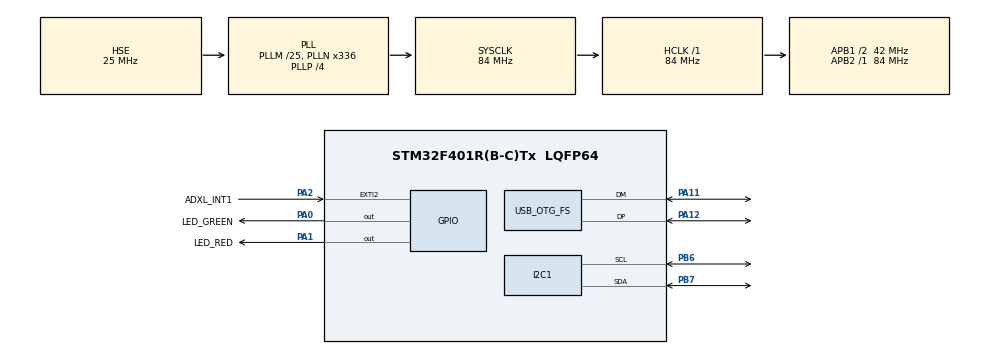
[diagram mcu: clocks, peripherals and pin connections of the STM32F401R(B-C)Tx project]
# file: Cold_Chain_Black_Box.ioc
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Mcu.Family=STM32F4
Mcu.Name=STM32F401R(B-C)Tx
Mcu.Package=LQFP64
NVIC.EXTI2_IRQn=true\:0\:0\:false\:false\:true\:true\:true\:true
NVIC.OTG_FS_IRQn=true\:0\:0\:false\:false\:true\:false\:true\:true
NVIC.PriorityGroup=NVIC_PRIORITYGROUP_4
PA0-WKUP.GPIO_Label=LED_GREEN
PA0-WKUP.Signal=GPIO_Output
PA1.GPIO_Label=LED_RED
PA1.Signal=GPIO_Output
PA11.Mode=Device_Only
PA11.Signal=USB_OTG_FS_DM
PA12.Mode=Device_Only
PA12.Signal=USB_OTG_FS_DP
PA13.Mode=Serial_Wire
PA13.Signal=SYS_JTMS-SWDIO
PA14.Mode=Serial_Wire
PA14.Signal=SYS_JTCK-SWCLK
PA2.GPIO_Label=ADXL_INT1
PA2.Signal=GPXTI2
PB6.Mode=I2C
PB6.Signal=I2C1_SCL
PB7.Mode=I2C
PB7.Signal=I2C1_SDA
PH0\ -\ OSC_IN.Mode=HSE-External-Oscillator
PH0\ -\ OSC_IN.Signal=RCC_OSC_IN
PH1\ -\ OSC_OUT.Mode=HSE-External-Oscillator
PH1\ -\ OSC_OUT.Signal=RCC_OSC_OUT
ProjectManager.HeapSize=0x200
ProjectManager.StackSize=0x400
ProjectManager.TargetToolchain=STM32CubeIDE
RCC.48MHZClocksFreq_Value=48000000
RCC.AHBFreq_Value=84000000
RCC.APB1CLKDivider=RCC_HCLK_DIV2
RCC.APB1Freq_Value=42000000
RCC.APB1TimFreq_Value=84000000
RCC.APB2Freq_Value=84000000
RCC.APB2TimFreq_Value=84000000
RCC.CortexFreq_Value=84000000
RCC.HCLKFreq_Value=84000000
RCC.HSE_VALUE=25000000
RCC.HSI_VALUE=16000000
RCC.PLLM=25
RCC.PLLN=336
RCC.PLLP=RCC_PLLP_DIV4
RCC.PLLQ=7
RCC.SYSCLKFreq_VALUE=84000000
RCC.SYSCLKSource=RCC_SYSCLKSOURCE_PLLCLK
RCC.VCOOutputFreq_Value=336000000
USB_DEVICE.CLASS_NAME_FS=CDC
USB_DEVICE.VirtualMode=Cdc
USB_DEVICE.VirtualModeFS=Cdc_FS
USB_OTG_FS.VirtualMode=Device_Only
VP_USB_DEVICE_VS_USB_DEVICE_CDC_FS.Mode=CDC_FS
board=custom

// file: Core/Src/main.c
/* USER CODE BEGIN Header */
/**
  ******************************************************************************
  * @file           : main.c
  * @brief          : Main program body
  ******************************************************************************
  * @attention
  *
  * Copyright (c) 2026 STMicroelectronics.
  * All rights reserved.
  *
  * This software is licensed under terms that can be found in the LICENSE file
  * in the root directory of this software component.
  * If no LICENSE file comes with this software, it is provided AS-IS.
  *
  ******************************************************************************
  */
/* USER CODE END Header */
#include "main.h"
#include "usb_device.h"

/* USER CODE BEGIN Includes */
#include "sht31.h"
#include "ds3231.h"
#include "adxl345.h"
#include "mkt.h"
/* USER CODE END Includes */

I2C_HandleTypeDef hi2c1;

/* USER CODE BEGIN PV */
float sicaklik = 0.0f;
float nem = 0.0f;
uint8_t okuma_durumu = 0;
DS3231_DateTime ayar_zaman;
ADXL345_Data ivme;
volatile uint8_t darbe_tespit_edildi = 0;
uint32_t toplam_darbe_sayisi = 0;
MKT_Context soguk_zincir_mkt;
float anlik_mkt_degeri = 0.0f;
/* USER CODE END PV */

void SystemClock_Config(void);
static void MX_GPIO_Init(void);
static void MX_I2C1_Init(void);

int main(void)
{

  /* MCU Configuration--------------------------------------------------------*/

  /* Reset of all peripherals, Initializes the Flash interface and the Systick. */
  HAL_Init();

  /* Configure the system clock */
  SystemClock_Config();

  /* Initialize all configured peripherals */
  MX_GPIO_Init();
  MX_I2C1_Init();
  MX_USB_DEVICE_Init();
  /* USER CODE BEGIN 2 */
  char compile_time[] = __TIME__; // "HH:MM:SS"

  ayar_zaman.hours   = (compile_time[0] - '0') * 10 + (compile_time[1] - '0');
  ayar_zaman.minutes = (compile_time[3] - '0') * 10 + (compile_time[4] - '0');
  ayar_zaman.seconds = (compile_time[6] - '0') * 10 + (compile_time[7] - '0') + 5; // +5 sn yükleme payı

  ayar_zaman.day     = 26;
  ayar_zaman.month   = 10;
  ayar_zaman.year    = 2026;
  ayar_zaman.day_of_week = 1;

  //DS3231_SetTime(&hi2c1, &ayar_zaman);
  if (ADXL345_Init(&hi2c1) != 1) {
      // Sensör başlatılamazsa kırmızı LED sabit yansın
      HAL_GPIO_WritePin(LED_RED_GPIO_Port, LED_RED_Pin, GPIO_PIN_SET);
  }
  MKT_Init(&soguk_zincir_mkt);
  /* USER CODE END 2 */

  /* Infinite loop */
  /* USER CODE BEGIN WHILE */
  while (1)
  {
	  // 1. Darbe / Şok Kontrolü (Tamamen sessiz)
		if (darbe_tespit_edildi) {
			darbe_tespit_edildi = 0;
			toplam_darbe_sayisi++;

			// Kesme bayrağını temizle (yeni darbeleri yakalamak için şart)
			ADXL345_ClearInterrupt(&hi2c1);
		}

		// 2. Periyodik Sensör ve Zaman Okumaları
		okuma_durumu = SHT31_Read(&hi2c1, &sicaklik, &nem);
		DS3231_GetTime(&hi2c1, &ayar_zaman);
		ADXL345_ReadAccel(&hi2c1, &ivme);

		// Okuma başarılıysa MKT kümülatifine ekle ve hesapla
		if (okuma_durumu == 1) {
			MKT_AddSample(&soguk_zincir_mkt, sicaklik);
			anlik_mkt_degeri = MKT_Calculate(&soguk_zincir_mkt);
		}

		HAL_Delay(1000);
    /* USER CODE END WHILE */

  }
}

void SystemClock_Config(void)
{
  RCC_OscInitTypeDef RCC_OscInitStruct = {0};
  RCC_ClkInitTypeDef RCC_ClkInitStruct = {0};

  /** Configure the main internal regulator output voltage
  */
  __HAL_RCC_PWR_CLK_ENABLE();
  __HAL_PWR_VOLTAGESCALING_CONFIG(PWR_REGULATOR_VOLTAGE_SCALE2);

  /** Initializes the RCC Oscillators according to the specified parameters
  * in the RCC_OscInitTypeDef structure.
  */
  RCC_OscInitStruct.OscillatorType = RCC_OSCILLATORTYPE_HSE;
  RCC_OscInitStruct.HSEState = RCC_HSE_ON;
  RCC_OscInitStruct.PLL.PLLState = RCC_PLL_ON;
  RCC_OscInitStruct.PLL.PLLSource = RCC_PLLSOURCE_HSE;
  RCC_OscInitStruct.PLL.PLLM = 25;
  RCC_OscInitStruct.PLL.PLLN = 336;
  RCC_OscInitStruct.PLL.PLLP = RCC_PLLP_DIV4;
  RCC_OscInitStruct.PLL.PLLQ = 7;
  if (HAL_RCC_OscConfig(&RCC_OscInitStruct) != HAL_OK)
  {
    Error_Handler();
  }

  /** Initializes the CPU, AHB and APB buses clocks
  */
  RCC_ClkInitStruct.ClockType = RCC_CLOCKTYPE_HCLK|RCC_CLOCKTYPE_SYSCLK
                              |RCC_CLOCKTYPE_PCLK1|RCC_CLOCKTYPE_PCLK2;
  RCC_ClkInitStruct.SYSCLKSource = RCC_SYSCLKSOURCE_PLLCLK;
  RCC_ClkInitStruct.AHBCLKDivider = RCC_SYSCLK_DIV1;
  RCC_ClkInitStruct.APB1CLKDivider = RCC_HCLK_DIV2;
  RCC_ClkInitStruct.APB2CLKDivider = RCC_HCLK_DIV1;

  if (HAL_RCC_ClockConfig(&RCC_ClkInitStruct, FLASH_LATENCY_2) != HAL_OK)
  {
    Error_Handler();
  }
}

static void MX_I2C1_Init(void)
{

  hi2c1.Instance = I2C1;
  hi2c1.Init.ClockSpeed = 100000;
  hi2c1.Init.DutyCycle = I2C_DUTYCYCLE_2;
  hi2c1.Init.OwnAddress1 = 0;
  hi2c1.Init.AddressingMode = I2C_ADDRESSINGMODE_7BIT;
  hi2c1.Init.DualAddressMode = I2C_DUALADDRESS_DISABLE;
  hi2c1.Init.OwnAddress2 = 0;
  hi2c1.Init.GeneralCallMode = I2C_GENERALCALL_DISABLE;
  hi2c1.Init.NoStretchMode = I2C_NOSTRETCH_DISABLE;
  if (HAL_I2C_Init(&hi2c1) != HAL_OK)
  {
    Error_Handler();
  }

}

static void MX_GPIO_Init(void)
{
  GPIO_InitTypeDef GPIO_InitStruct = {0};

  /* GPIO Ports Clock Enable */
  __HAL_RCC_GPIOH_CLK_ENABLE();
  __HAL_RCC_GPIOA_CLK_ENABLE();
  __HAL_RCC_GPIOB_CLK_ENABLE();

  /*Configure GPIO pin Output Level */
  HAL_GPIO_WritePin(GPIOA, LED_GREEN_Pin|LED_RED_Pin, GPIO_PIN_RESET);

  /*Configure GPIO pins : LED_GREEN_Pin LED_RED_Pin */
  GPIO_InitStruct.Pin = LED_GREEN_Pin|LED_RED_Pin;
  GPIO_InitStruct.Mode = GPIO_MODE_OUTPUT_PP;
  GPIO_InitStruct.Pull = GPIO_NOPULL;
  GPIO_InitStruct.Speed = GPIO_SPEED_FREQ_LOW;
  HAL_GPIO_Init(GPIOA, &GPIO_InitStruct);

  /*Configure GPIO pin : ADXL_INT1_Pin */
  GPIO_InitStruct.Pin = ADXL_INT1_Pin;
  GPIO_InitStruct.Mode = GPIO_MODE_IT_RISING;
  GPIO_InitStruct.Pull = GPIO_NOPULL;
  HAL_GPIO_Init(ADXL_INT1_GPIO_Port, &GPIO_InitStruct);

  /* EXTI interrupt init*/
  HAL_NVIC_SetPriority(EXTI2_IRQn, 0, 0);
  HAL_NVIC_EnableIRQ(EXTI2_IRQn);

}

/* USER CODE BEGIN 4 */
void HAL_GPIO_EXTI_Callback(uint16_t GPIO_Pin) {
	if (GPIO_Pin == ADXL_INT1_Pin) // PA2 tetiklendiğinde
	{
		darbe_tespit_edildi = 1;
	}
}
/* USER CODE END 4 */

void Error_Handler(void)
{
  __disable_irq();
  while (1)
  {
  }
}
